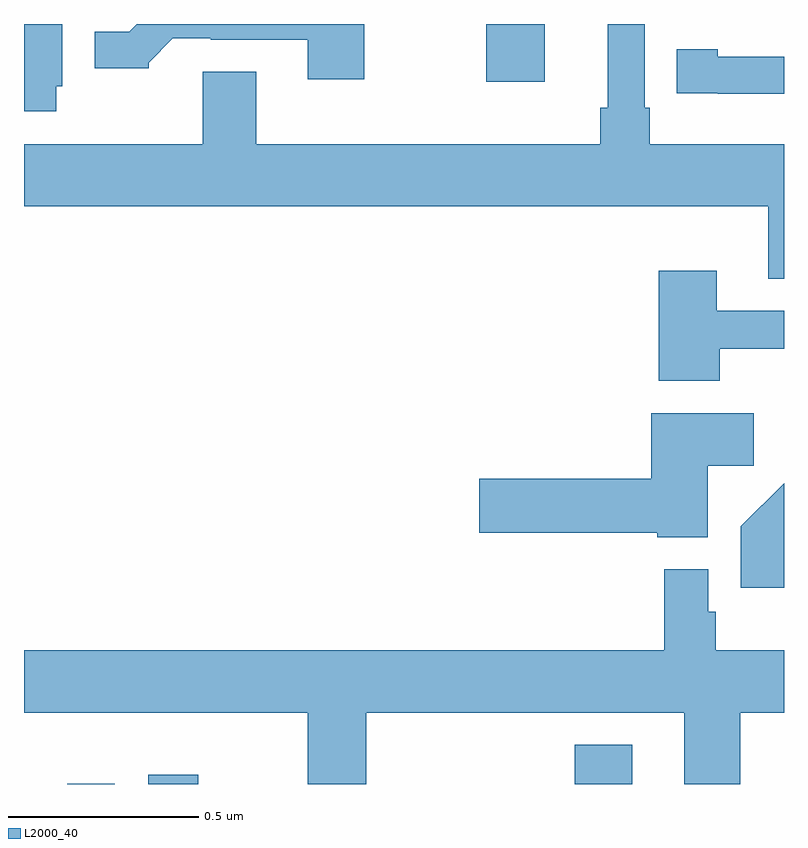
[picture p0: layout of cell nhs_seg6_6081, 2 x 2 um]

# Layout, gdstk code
import gdstk
lib = gdstk.Library(unit=1e-6, precision=1e-09)
def R(c, l, rs):  # rectangles x0, y0, x1, y1
    for r in rs: c.add(gdstk.rectangle(r[:2], r[2:], *l))
def P(c, l, *ps):  # polygons
    for p in ps: c.add(gdstk.Polygon(p, *l))
L2000_40 = (2000, 40)

nhs_seg6_6081 = lib.new_cell('nhs_seg6_6081')
R(nhs_seg6_6081, L2000_40, [(191.114,928.5,191.239,928.501), (191.327,928.5,191.458,928.525), (192.449,928.5,192.601,928.603), (192.217,930.348,192.37,930.5)])
P(nhs_seg6_6081, L2000_40, [(193,930.184),(192.647,930.184),(192.647,930.28),(192.633,930.28),(192.633,930.5),(192.536,930.5),(192.536,930.28),(192.517,930.28),(192.517,930.184),(191.611,930.184),(191.611,930.374),(191.471,930.374),(191.471,930.184),(191,930.184),(191,930.02),(192.959,930.02),(192.959,929.83),(193,929.83)],
  [(191.085,930.336),(191.101,930.336),(191.101,930.5),(191,930.5),(191,930.27),(191.085,930.27)],
  [(191.895,930.5),(191.297,930.5),(191.277,930.48),(191.186,930.48),(191.186,930.383),(191.328,930.383),(191.328,930.398),(191.392,930.462),(191.491,930.462),(191.491,930.459),(191.747,930.459),(191.747,930.354),(191.895,930.354)],
  [(193,930.414),(192.826,930.414),(192.826,930.434),(192.718,930.434),(192.718,930.318),(192.826,930.318),(192.826,930.317),(193,930.317)],
  [(192.831,929.646),(193,929.646),(193,929.745),(192.823,929.745),(192.823,929.851),(192.671,929.851),(192.671,929.561),(192.831,929.561)],
  [(192.799,929.338),(192.92,929.338),(192.92,929.476),(192.65,929.476),(192.65,929.303),(192.198,929.303),(192.198,929.161),(192.666,929.161),(192.666,929.15),(192.799,929.15)],
  [(193,929.292),(192.886,929.178),(192.886,929.016),(193,929.016)],
  [(191.9,928.688),(192.737,928.688),(192.737,928.5),(192.885,928.5),(192.885,928.688),(193,928.688),(193,928.852),(192.821,928.852),(192.821,928.953),(192.801,928.953),(192.801,929.065),(192.685,929.065),(192.685,928.852),(191,928.852),(191,928.688),(191.747,928.688),(191.747,928.5),(191.9,928.5)])

lib.write_gds('nhs_seg6_6081.gds')
